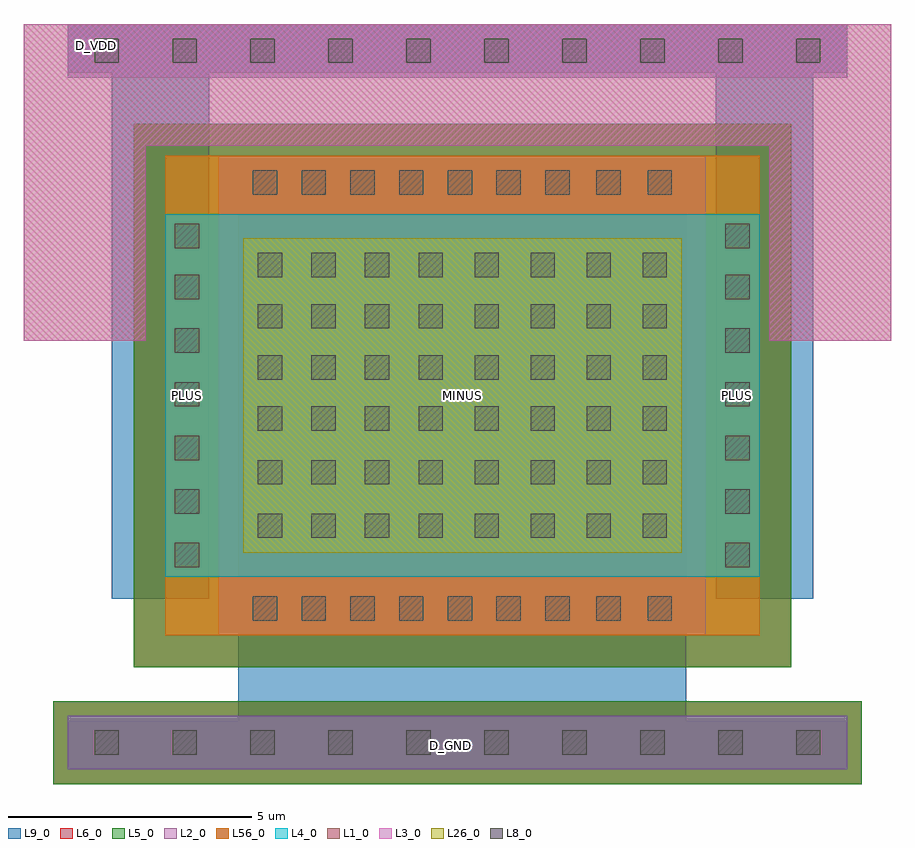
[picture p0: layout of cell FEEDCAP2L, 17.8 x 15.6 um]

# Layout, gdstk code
import gdstk
lib = gdstk.Library(unit=1e-6, precision=1e-09)
def R(c, l, rs):  # rectangles x0, y0, x1, y1
    for r in rs: c.add(gdstk.rectangle(r[:2], r[2:], *l))
def A(c, l, x, y, w, h, nx, ny, dx, dy):  # array of equal rectangles
    R(c, l, [(x+i*dx, y+j*dy, x+i*dx+w, y+j*dy+h) for i in range(nx) for j in range(ny)])
L1_0 = (1, 0)
L2_0 = (2, 0)
L3_0 = (3, 0)
L4_0 = (4, 0)
L5_0 = (5, 0)
L6_0 = (6, 0)
L8_0 = (8, 0)
L9_0 = (9, 0)
L26_0 = (26, 0)
L56_0 = (56, 0)

feedcap2l = lib.new_cell('FEEDCAP2L')
A(feedcap2l, L1_0, 1.6, 12.8, 1.6, 2.5, 8, 1, 1.6, 0)
R(feedcap2l, L1_0, [(-0.9,8.8,1.6,15.3), (14.4,8.8,16.9,15.3)])
A(feedcap2l, L2_0, 0, 0, 1.6, 1.1, 10, 2, 1.6, 14.2)
R(feedcap2l, L2_0, [(3.1,2.75,13.1,3.85), (3.1,3.85,13.1,11.5), (3.1,11.5,13.1,12.6)])
A(feedcap2l, L3_0, 1.6, 12.8, 1.6, 2.5, 8, 1, 1.6, 0)
R(feedcap2l, L3_0, [(-0.9,8.8,1.6,15.3), (14.4,8.8,16.9,15.3)])
R(feedcap2l, L4_0, [(2,3.95,2.9,11.4), (2.9,3.95,13.3,11.4), (13.3,3.95,14.2,11.4)])
A(feedcap2l, L5_0, 1.6, -0.3, 1.6, 1.7, 8, 1, 1.6, 0)
R(feedcap2l, L5_0, [(-0.3,-0.3,1.6,1.4), (14.4,-0.3,16.3,1.4), (1.35,2.1,14.85,13.25)])
A(feedcap2l, L6_0, 1.6, -0.3, 1.6, 1.7, 8, 1, 1.6, 0)
R(feedcap2l, L6_0, [(-0.3,-0.3,1.6,1.4), (14.4,-0.3,16.3,1.4), (1.35,2.1,14.85,13.25)])
A(feedcap2l, L8_0, 0.55, 0.3, 0.5, 0.5, 10, 2, 1.6, 14.2)
A(feedcap2l, L8_0, 3.8, 3.05, 0.5, 0.5, 7, 2, 1, 8.75)
A(feedcap2l, L8_0, 2.2, 4.15, 0.5, 0.5, 1, 6, 0, 1.1)
A(feedcap2l, L8_0, 13.5, 4.15, 0.5, 0.5, 1, 6, 0, 1.1)
A(feedcap2l, L8_0, 3.9, 4.75, 0.5, 0.5, 4, 3, 1.1, 1.1)
A(feedcap2l, L8_0, 8.35, 4.75, 0.5, 0.5, 4, 3, 1.15, 1.1)
A(feedcap2l, L8_0, 3.9, 8, 0.5, 0.5, 4, 3, 1.1, 1.05)
A(feedcap2l, L8_0, 8.35, 8, 0.5, 0.5, 4, 3, 1.15, 1.05)
R(feedcap2l, L8_0, [(10.85,3.05,11.35,3.55), (11.9,3.05,12.4,3.55), (2.2,10.7,2.7,11.2), (13.5,10.7,14,11.2), (10.85,11.8,11.35,12.3), (11.9,11.8,12.4,12.3)])
A(feedcap2l, L9_0, 0, 0, 1.6, 1, 10, 2, 1.6, 14.3)
R(feedcap2l, L9_0, [(0,0,16,1), (3.5,0.95,12.7,2.85), (3.5,2.85,12.7,12.5), (3.9,2.85,12.3,3.75), (0.9,3.5,2.9,13.7), (13.3,3.5,15.3,13.2), (2,3.95,2.9,11.4), (13.3,3.95,14.2,11.4), (3.9,11.6,12.3,12.5), (13.3,13.2,15.3,14.35), (0.9,13.7,2.9,14.3), (0,14.3,16,15.3)])
R(feedcap2l, L26_0, [(3.6,4.45,12.6,10.9)])
R(feedcap2l, L56_0, [(2,2.75,14.2,12.6)])
feedcap2l.add(gdstk.Label('PLUS', (13.748,7.675), layer=9, texttype=0))
feedcap2l.add(gdstk.Label('PLUS', (2.448,7.675), layer=9, texttype=0))
feedcap2l.add(gdstk.Label('MINUS', (8.1,7.674), layer=9, texttype=0))
feedcap2l.add(gdstk.Label('pipcpm', (8.1,7.675), layer=56, texttype=0))
feedcap2l.add(gdstk.Label('pipcpm', (8.1,7.675), layer=56, texttype=0))
feedcap2l.add(gdstk.Label('D_GND', (7.85,0.5), layer=50, texttype=0))
feedcap2l.add(gdstk.Label('D_VDD', (0.6,14.85), layer=50, texttype=0))

lib.write_gds('FEEDCAP2L.gds')
